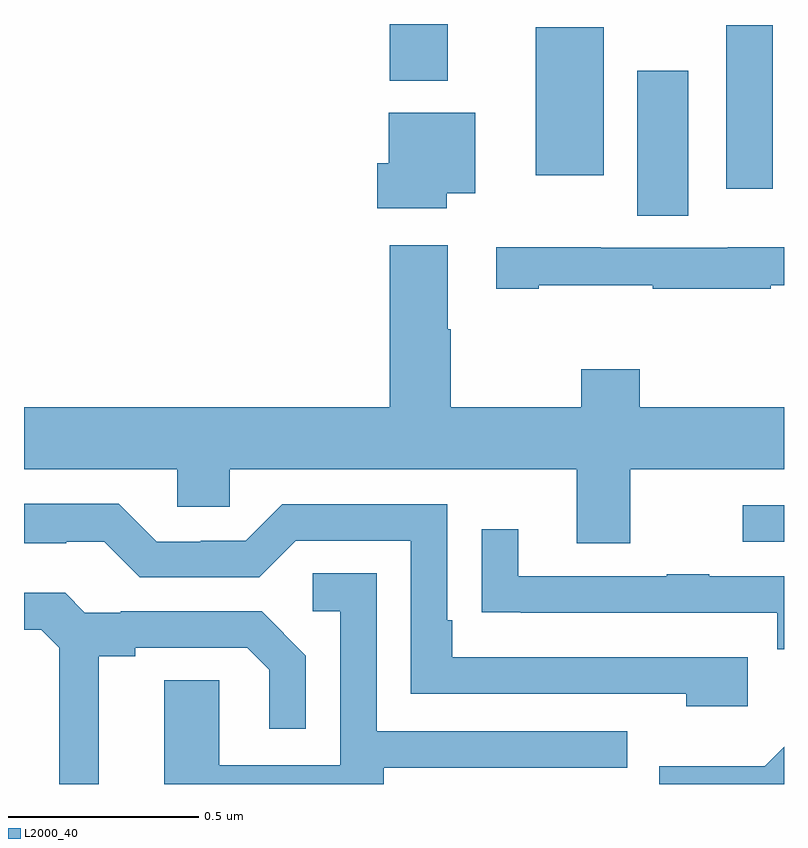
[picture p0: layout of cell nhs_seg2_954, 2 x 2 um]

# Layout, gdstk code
import gdstk
lib = gdstk.Library(unit=1e-6, precision=1e-09)
def R(c, l, rs):  # rectangles x0, y0, x1, y1
    for r in rs: c.add(gdstk.rectangle(r[:2], r[2:], *l))
def P(c, l, *ps):  # polygons
    for p in ps: c.add(gdstk.Polygon(p, *l))
L2000_40 = (2000, 40)

nhs_seg2_954 = lib.new_cell('nhs_seg2_954')
R(nhs_seg2_954, L2000_40, [(123.891,655.437,124,655.533), (123.614,656.296,123.748,656.677), (123.848,656.367,123.97,656.797), (123.347,656.402,123.526,656.791), (122.963,656.651,123.115,656.8)])
P(nhs_seg2_954, L2000_40, [(123.113,656.354),(123.187,656.354),(123.187,656.566),(122.96,656.566),(122.96,656.433),(122.93,656.433),(122.93,656.315),(123.113,656.315)],
  [(123.595,655.628),(124,655.628),(124,655.792),(123.621,655.792),(123.621,655.891),(123.466,655.891),(123.466,655.792),(123.123,655.792),(123.123,655.997),(123.115,655.997),(123.115,656.218),(122.963,656.218),(122.963,655.792),(122,655.792),(122,655.628),(122.403,655.628),(122.403,655.53),(122.541,655.53),(122.541,655.628),(123.455,655.628),(123.455,655.434),(123.595,655.434)],
  [(123.355,656.113),(123.655,656.113),(123.655,656.103),(123.965,656.103),(123.965,656.113),(124,656.113),(124,656.212),(123.852,656.212),(123.852,656.211),(123.518,656.211),(123.518,656.213),(123.243,656.213),(123.243,656.103),(123.355,656.103)],
  [(123.904,655.134),(123.127,655.134),(123.127,655.231),(123.114,655.231),(123.114,655.536),(122.679,655.536),(122.583,655.44),(122.465,655.44),(122.465,655.437),(122.349,655.437),(122.249,655.537),(122,655.537),(122,655.433),(122.111,655.433),(122.111,655.437),(122.211,655.437),(122.304,655.344),(122.619,655.344),(122.715,655.44),(123.018,655.44),(123.018,655.038),(123.743,655.038),(123.743,655.004),(123.904,655.004)],
  [(124,655.347),(123.803,655.347),(123.803,655.352),(123.691,655.352),(123.691,655.347),(123.301,655.347),(123.301,655.471),(123.205,655.471),(123.205,655.252),(123.307,655.252),(123.307,655.251),(123.982,655.251),(123.982,655.154),(124,655.154)],
  [(122.947,654.843),(123.587,654.843),(123.587,654.939),(122.928,654.939),(122.928,655.355),(122.76,655.355),(122.76,655.254),(122.832,655.254),(122.832,654.849),(122.514,654.849),(122.514,655.073),(122.369,655.073),(122.369,654.8),(122.947,654.8)],
  [(122.197,655.136),(122.293,655.136),(122.293,655.158),(122.588,655.158),(122.645,655.101),(122.645,654.945),(122.742,654.945),(122.742,655.138),(122.626,655.254),(122.254,655.254),(122.254,655.251),(122.16,655.251),(122.108,655.303),(122,655.303),(122,655.206),(122.046,655.206),(122.093,655.159),(122.093,654.8),(122.197,654.8)],
  [(124,654.898),(123.949,654.847),(123.672,654.847),(123.672,654.8),(124,654.8)])

lib.write_gds('nhs_seg2_954.gds')
